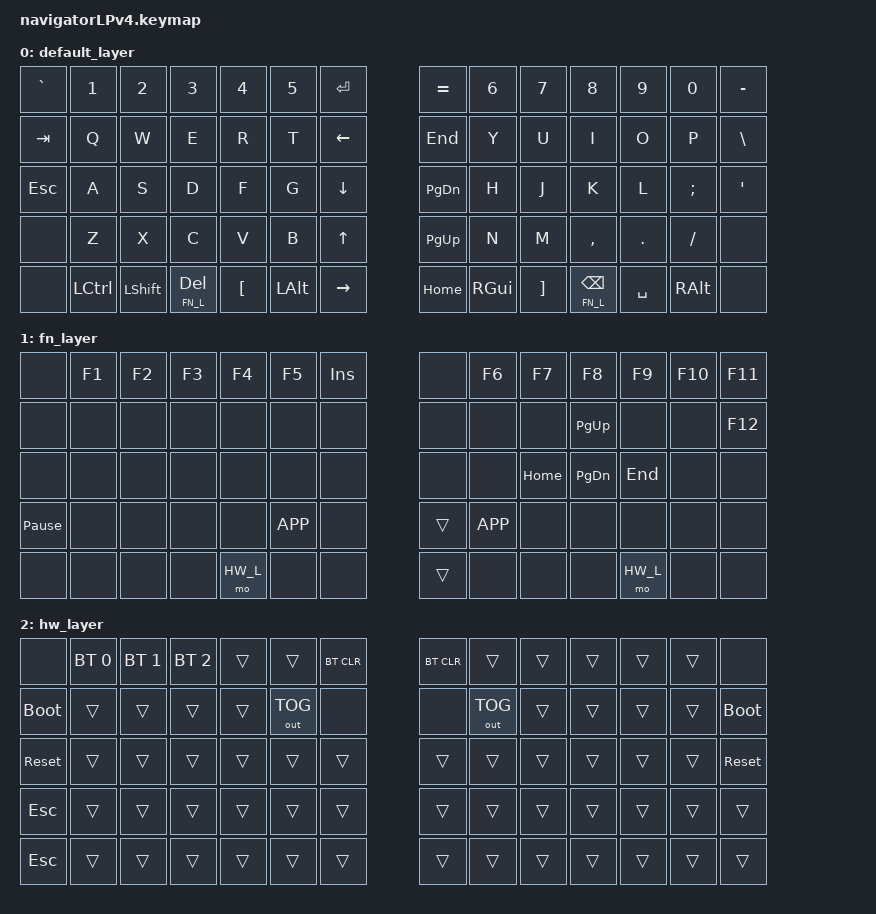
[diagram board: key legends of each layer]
#include <input/processors.dtsi>
#include <behaviors.dtsi>
#include <dt-bindings/zmk/keys.h>
#include <dt-bindings/zmk/bt.h>
#include <dt-bindings/zmk/outputs.h>

#define DEFAULT_LAYER 0
#define FN_L 1
#define HW_L 2
#define MOUSE_TP 3


#define NAV_R_UP_H RGUI
#define NAV_R_UP_T PG_UP
#define NAV_R_DN_H RCTRL
#define NAV_R_DN_T PG_DN
#define NAV_R_LE_H RALT
#define NAV_R_LE_T HOME
#define NAV_R_RI_H RSHFT
#define NAV_R_RI_T END

&lt {
    tapping_term_ms = <150>;
    quick_tap_ms = <300>;
    flavor = "tap-preferred";
};

&mt {
    flavor = "tap-preferred";
};

/ {
    // conditional_layers {
    //     compatible = "zmk,conditional-layers";
    //     tri_layer {
    //         if-layers = <2 3>;
    //         then-layer = <4>;
    //     };
    // };

    // behaviors {
    //     th_liftl: th_liftl_taphold {
    //         compatible = "zmk,behavior-hold-tap";
    //         label = "LIFT_MOD_L";
    //         #binding-cells = <2>;
    //         tapping_term_ms = <300>;
    //         flavor = "hold-preferred";
    //         bindings = <&mod_liftl>, <&kp>;
    //         quick_tap_ms = <500>;
    //     };

    //     th_liftr: th_liftr_taphold {
    //         compatible = "zmk,behavior-hold-tap";
    //         label = "LIFT_MOD_R";
    //         #binding-cells = <2>;
    //         tapping_term_ms = <300>;
    //         flavor = "hold-preferred";
    //         bindings = <&mod_liftr>, <&kp>;
    //         quick_tap_ms = <500>;
    //     };
    // };

    keymap {
        compatible = "zmk,keymap";

        default_layer {
            bindings = <
    &kp GRAVE  &kp N1      &kp N2      &kp N3         &kp N4     &kp N5     &kp ENTER               &kp EQUAL   &kp N6    &kp N7     &kp N8         &kp N9    &kp N0     &kp MINUS
    &kp TAB    &kp Q       &kp W       &kp E          &kp R      &kp T      &kp LEFT               &kp END    &kp Y     &kp U      &kp I          &kp O     &kp P      &kp BSLH
    &kp ESC    &kp A       &kp S       &kp D          &kp F      &kp G      &kp DOWN               &kp PG_DN  &kp H     &kp J      &kp K          &kp L     &kp SEMI   &kp SQT
    &none      &kp Z       &kp X       &kp C          &kp V      &kp B      &kp UP                 &kp PG_UP  &kp N     &kp M      &kp COMMA      &kp DOT   &kp FSLH   &none
    &none      &kp LCTRL   &kp LSHFT   &lt FN_L DEL   &kp LBKT  &kp LALT   &kp RIGHT              &kp HOME   &kp RGUI &kp RBKT   &lt FN_L BSPC  &kp SPACE &kp RALT  &none
            >;
        };

        fn_layer {
            bindings = <
    &none           &kp F1    &kp F2    &kp F3    &kp F4      &kp F5     &kp INS                &none     &kp F6    &kp F7     &kp F8    &kp F9     &kp F10  &kp F11
    &none           &none     &none     &none     &none       &none      &none                  &none     &none      &none     &kp PG_UP  &none    &none     &kp F12
    &none           &none     &none     &none     &none       &none      &none                  &none     &none      &kp HOME  &kp PG_DN  &kp END  &none     &none
    &kp PAUSE_BREAK &none     &none     &none     &none       &kp K_APP  &none                  &trans    &kp K_APP  &none     &none      &none    &none     &none
    &none           &none     &none     &none     &mo HW_L    &none      &none                  &trans    &none      &none     &none      &mo HW_L    &none     &none
            >;
        };

        hw_layer {
            bindings = <
    &none        &bt BT_SEL 0  &bt BT_SEL 1  &bt BT_SEL 2  &trans  &trans  &bt BT_CLR         &bt BT_CLR    &trans  &trans  &trans  &trans  &trans  &none
    &bootloader  &trans        &trans        &trans        &trans  &out OUT_TOG  &none        &none   &out OUT_TOG  &trans  &trans  &trans  &trans  &bootloader
    &sys_reset   &trans        &trans        &trans        &trans  &trans  &trans             &trans        &trans  &trans  &trans  &trans  &trans  &sys_reset
    &kp ESC      &trans        &trans        &trans        &trans  &trans  &trans             &trans        &trans  &trans  &trans  &trans  &trans  &trans
    &kp ESC      &trans        &trans        &trans        &trans  &trans  &trans             &trans        &trans  &trans  &trans  &trans  &trans  &trans
            >;
        };
    };
};
